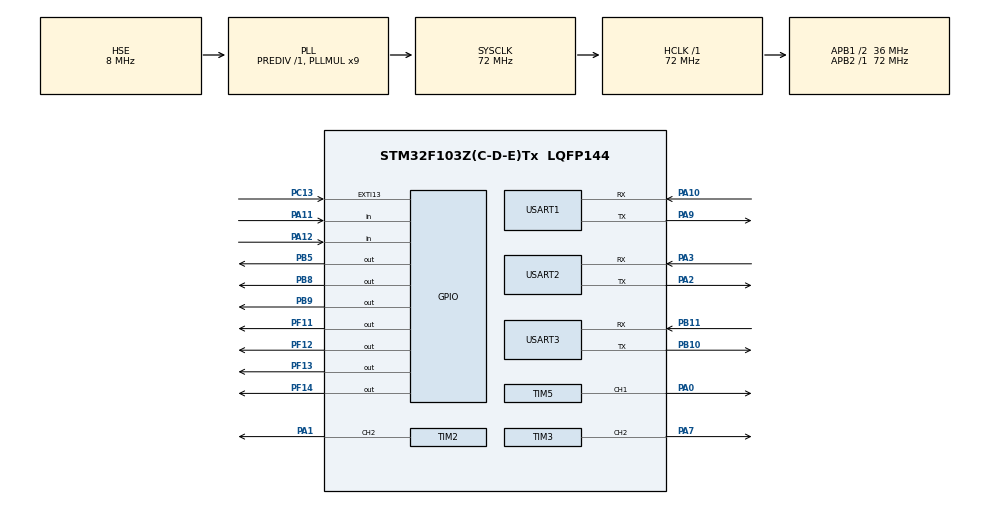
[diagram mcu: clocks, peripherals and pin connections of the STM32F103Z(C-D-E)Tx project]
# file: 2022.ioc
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Mcu.Family=STM32F1
Mcu.Name=STM32F103Z(C-D-E)Tx
Mcu.Package=LQFP144
NVIC.EXTI15_10_IRQn=true\:1\:0\:true\:false\:true\:true\:true\:true
NVIC.PriorityGroup=NVIC_PRIORITYGROUP_4
NVIC.TIM2_IRQn=true\:0\:0\:true\:false\:true\:true\:true\:true
NVIC.TIM5_IRQn=true\:0\:0\:false\:false\:true\:true\:true\:true
NVIC.TIM6_IRQn=true\:3\:0\:true\:false\:true\:true\:true\:true
NVIC.USART1_IRQn=true\:1\:0\:true\:false\:true\:true\:true\:true
NVIC.USART2_IRQn=true\:1\:0\:true\:false\:true\:true\:true\:true
OSC_IN.Mode=HSE-External-Oscillator
OSC_IN.Signal=RCC_OSC_IN
OSC_OUT.Mode=HSE-External-Oscillator
OSC_OUT.Signal=RCC_OSC_OUT
PA0-WKUP.Signal=S_TIM5_CH1
PA1.Signal=S_TIM2_CH2
PA10.Mode=Asynchronous
PA10.Signal=USART1_RX
PA11.GPIO_PuPd=GPIO_PULLUP
PA11.Signal=GPIO_Input
PA12.GPIO_PuPd=GPIO_PULLUP
PA12.Signal=GPIO_Input
PA13.Mode=Serial_Wire
PA13.Signal=SYS_JTMS-SWDIO
PA14.Mode=Serial_Wire
PA14.Signal=SYS_JTCK-SWCLK
PA2.Mode=Asynchronous
PA2.Signal=USART2_TX
PA3.Mode=Asynchronous
PA3.Signal=USART2_RX
PA7.GPIO_Speed=GPIO_SPEED_FREQ_HIGH
PA7.Signal=S_TIM3_CH2
PA9.Mode=Asynchronous
PA9.Signal=USART1_TX
PB10.Mode=Asynchronous
PB10.Signal=USART3_TX
PB11.Mode=Asynchronous
PB11.Signal=USART3_RX
PB5.GPIO_ModeDefaultOutputPP=GPIO_MODE_OUTPUT_PP
PB5.GPIO_PuPd=GPIO_PULLDOWN
PB5.GPIO_Speed=GPIO_SPEED_FREQ_HIGH
PB5.PinState=GPIO_PIN_RESET
PB5.Signal=GPIO_Output
PB6.GPIO_Mode=GPIO_MODE_INPUT
PB6.GPIO_PuPd=GPIO_NOPULL
PB6.GPIO_Speed=N/A
PB6.Signal=S_TIM4_CH1
PB7.GPIO_PuPd=GPIO_NOPULL
PB7.Signal=S_TIM4_CH2
PB8.GPIO_ModeDefaultOutputPP=GPIO_MODE_OUTPUT_OD
PB8.GPIO_PuPd=GPIO_NOPULL
PB8.GPIO_Speed=GPIO_SPEED_FREQ_HIGH
PB8.Signal=GPIO_Output
PB9.GPIO_ModeDefaultOutputPP=GPIO_MODE_OUTPUT_OD
PB9.GPIO_PuPd=GPIO_NOPULL
PB9.GPIO_Speed=GPIO_SPEED_FREQ_HIGH
PB9.Signal=GPIO_Output
PC13-TAMPER-RTC.GPIO_ModeDefaultEXTI=GPIO_MODE_IT_FALLING
PC13-TAMPER-RTC.GPIO_PuPd=GPIO_PULLUP
PC13-TAMPER-RTC.Signal=GPXTI13
PF11.GPIO_Speed=GPIO_SPEED_FREQ_HIGH
PF11.PinState=GPIO_PIN_RESET
PF11.Signal=GPIO_Output
PF12.GPIO_PuPd=GPIO_NOPULL
PF12.GPIO_Speed=GPIO_SPEED_FREQ_HIGH
PF12.Signal=GPIO_Output
PF13.GPIO_Speed=GPIO_SPEED_FREQ_HIGH
PF13.Signal=GPIO_Output
PF14.GPIO_Speed=GPIO_SPEED_FREQ_HIGH
PF14.Signal=GPIO_Output
ProjectManager.HeapSize=0x200
ProjectManager.StackSize=0x400
ProjectManager.TargetToolchain=MDK-ARM V5.32
RCC.AHBFreq_Value=72000000
RCC.APB1CLKDivider=RCC_HCLK_DIV2
RCC.APB1Freq_Value=36000000
RCC.APB1TimFreq_Value=72000000
RCC.APB2Freq_Value=72000000
RCC.APB2TimFreq_Value=72000000
RCC.HCLKFreq_Value=72000000
RCC.PLLMUL=RCC_PLL_MUL9
RCC.PLLSourceVirtual=RCC_PLLSOURCE_HSE
RCC.SYSCLKFreq_VALUE=72000000
RCC.SYSCLKSource=RCC_SYSCLKSOURCE_PLLCLK
RCC.USBFreq_Value=72000000
SH.S_TIM2_CH2.0=TIM2_CH2,PWM Generation2 CH2
SH.S_TIM3_CH2.0=TIM3_CH2,PWM Generation2 CH2
SH.S_TIM4_CH1.0=TIM4_CH1
SH.S_TIM4_CH2.0=TIM4_CH2
SH.S_TIM5_CH1.0=TIM5_CH1,PWM Generation1 CH1
TIM2.Channel-PWM\ Generation2\ CH2=TIM_CHANNEL_2
TIM2.Period=2000-1
TIM2.Prescaler=71
TIM2.Pulse-PWM\ Generation2\ CH2=1000
TIM3.Channel-PWM\ Generation2\ CH2=TIM_CHANNEL_2
TIM3.Prescaler=71
TIM5.Channel-PWM\ Generation1\ CH1=TIM_CHANNEL_1
TIM5.Period=2000-1
TIM5.Prescaler=71
TIM5.Pulse-PWM\ Generation1\ CH1=1000
TIM6.Period=1000-1
TIM6.Prescaler=720-1
USART1.VirtualMode=VM_ASYNC
USART2.VirtualMode=VM_ASYNC
USART3.VirtualMode=VM_ASYNC
VP_TIM2_VS_ClockSourceINT.Mode=Internal
VP_TIM3_VS_ClockSourceINT.Mode=Internal
VP_TIM5_VS_ClockSourceINT.Mode=Internal
VP_TIM6_VS_ClockSourceINT.Mode=Enable_Timer
board=custom

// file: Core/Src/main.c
/* USER CODE BEGIN Header */
/**
  ******************************************************************************
  * @file           : main.c
  * @brief          : Main program body
  ******************************************************************************
  * @attention
  *
  * Copyright (c) 2025 STMicroelectronics.
  * All rights reserved.
  *
  * This software is licensed under terms that can be found in the LICENSE file
  * in the root directory of this software component.
  * If no LICENSE file comes with this software, it is provided AS-IS.
  *
  ******************************************************************************
  */
/* USER CODE END Header */
#include "main.h"
#include "tim.h"
#include "usart.h"
#include "gpio.h"

/* USER CODE BEGIN Includes */
#include "string.h"
#include "stdio.h"
#include "oled.h"
#include "bsp_uart.h"
#include "dsp_jy901s.h"
#include "pid_motor.h"
#include "timer.h"
#include "step.h"
#include "key.h"
#include "led.h"
#include "task.h"
#include "pid_step.h"
/* USER CODE END Includes */

/* USER CODE BEGIN PD */
uint16_t Top_Left_X,Top_Left_Y  = 0;//左上角
uint16_t Top_Right_X,Top_Right_Y = 0;//右上角
uint16_t Lower_Left_X,Lower_Left_Y = 0;//左下角
uint16_t Lower_Right_X,Lower_Right_Y = 0;//右下角
uint16_t Midpiont_X,Midpiont_Y = 0;//中点
/* USER CODE END PD */

void SystemClock_Config(void);

/* USER CODE BEGIN 0 */
uint16_t keynum;
uint16_t current_task = 0;

/* USER CODE END 0 */

int main(void)
{

  /* MCU Configuration--------------------------------------------------------*/

  /* Reset of all peripherals, Initializes the Flash interface and the Systick. */
  HAL_Init();

  /* Configure the system clock */
  SystemClock_Config();

  /* USER CODE BEGIN SysInit */
  OLED_Init();
  /* USER CODE END SysInit */

  /* Initialize all configured peripherals */
  MX_GPIO_Init();
  MX_USART1_UART_Init();
  MX_USART2_UART_Init();
  MX_TIM6_Init();
  MX_TIM3_Init();
  MX_USART3_UART_Init();
  MX_TIM2_Init();
  MX_TIM5_Init();
  /* USER CODE BEGIN 2 */
  Step_Init();
  Timer_Init();//定时器中断初始化
  K230_UART2_Init();
  HAL_NVIC_SetPriority(USART2_IRQn, 0, 0);
  HAL_NVIC_EnableIRQ(USART2_IRQn);
  /* USER CODE END 2 */

  /* Infinite loop */
  /* USER CODE BEGIN WHILE */
  while (1)
  {
    Midpiont_X = (((Top_Left_X + Top_Right_X) / 2) + ((Lower_Left_X + Lower_Right_X) / 2 ) ) / 2;
    Midpiont_Y = (((Top_Left_Y + Top_Right_Y) / 2) + ((Lower_Left_Y + Lower_Right_Y) / 2 ) ) / 2;
    OLED_ShowNum(1,1,Top_Left_X,3);
    OLED_ShowNum(1,5,Top_Left_Y,3);
    OLED_ShowNum(2,1,Top_Right_X,3);
    OLED_ShowNum(2,5,Top_Right_Y,3);
    OLED_ShowNum(3,1,Lower_Left_X,3);
    OLED_ShowNum(3,5,Lower_Left_Y,3);
    OLED_ShowNum(4,1,Lower_Right_X,3);
    OLED_ShowNum(4,5,Lower_Right_Y,3);
    OLED_ShowString(1,11,"X:");
    OLED_ShowNum(1,13,Midpiont_X,3);
    OLED_ShowString(2,11,"Y:");
    OLED_ShowNum(2,13,Midpiont_Y,3);
    OLED_ShowNum(3,13,current_x,3);
    OLED_ShowNum(4,13,current_y,3);

    keynum = Key_Getnum();
    if(keynum == 1)
    {
      current_task = (current_task + 1) % 6;
    }
    if(keynum == 2)
    {
      switch (current_task)
      {
      case 1: Task1(); break;
      case 2: Task2(); break;
      case 3: Task3(); break;
      case 4: Task4(); break;
      case 5: Task5(); break;
      default:
        break;
      }
    }

    if(stateA)
    {
        // 显示暂停状态
        OLED_ShowString(3, 8, "PAUSE");
        // 保持电机停止状态
        HAL_TIM_PWM_Stop_IT(&htim2, TIM_CHANNEL_2);
        HAL_TIM_PWM_Stop_IT(&htim5, TIM_CHANNEL_1);
    }

    /* USER CODE END WHILE */

  }
}

void SystemClock_Config(void)
{
  RCC_OscInitTypeDef RCC_OscInitStruct = {0};
  RCC_ClkInitTypeDef RCC_ClkInitStruct = {0};

  /** Initializes the RCC Oscillators according to the specified parameters
  * in the RCC_OscInitTypeDef structure.
  */
  RCC_OscInitStruct.OscillatorType = RCC_OSCILLATORTYPE_HSE;
  RCC_OscInitStruct.HSEState = RCC_HSE_ON;
  RCC_OscInitStruct.HSEPredivValue = RCC_HSE_PREDIV_DIV1;
  RCC_OscInitStruct.HSIState = RCC_HSI_ON;
  RCC_OscInitStruct.PLL.PLLState = RCC_PLL_ON;
  RCC_OscInitStruct.PLL.PLLSource = RCC_PLLSOURCE_HSE;
  RCC_OscInitStruct.PLL.PLLMUL = RCC_PLL_MUL9;
  if (HAL_RCC_OscConfig(&RCC_OscInitStruct) != HAL_OK)
  {
    Error_Handler();
  }

  /** Initializes the CPU, AHB and APB buses clocks
  */
  RCC_ClkInitStruct.ClockType = RCC_CLOCKTYPE_HCLK|RCC_CLOCKTYPE_SYSCLK
                              |RCC_CLOCKTYPE_PCLK1|RCC_CLOCKTYPE_PCLK2;
  RCC_ClkInitStruct.SYSCLKSource = RCC_SYSCLKSOURCE_PLLCLK;
  RCC_ClkInitStruct.AHBCLKDivider = RCC_SYSCLK_DIV1;
  RCC_ClkInitStruct.APB1CLKDivider = RCC_HCLK_DIV2;
  RCC_ClkInitStruct.APB2CLKDivider = RCC_HCLK_DIV1;

  if (HAL_RCC_ClockConfig(&RCC_ClkInitStruct, FLASH_LATENCY_2) != HAL_OK)
  {
    Error_Handler();
  }
}

void Error_Handler(void)
{
  __disable_irq();
  while (1)
  {
  }
}
